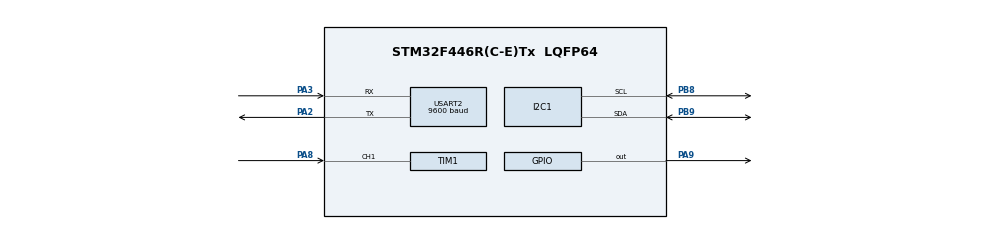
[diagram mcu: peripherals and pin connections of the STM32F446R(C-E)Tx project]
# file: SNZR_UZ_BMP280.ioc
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Mcu.Family=STM32F4
Mcu.Name=STM32F446R(C-E)Tx
Mcu.Package=LQFP64
NVIC.PriorityGroup=NVIC_PRIORITYGROUP_4
NVIC.TIM1_CC_IRQn=true\:3\:0\:true\:false\:true\:true\:true\:true
PA13.Mode=Serial_Wire
PA13.Signal=SYS_JTMS-SWDIO
PA14.Mode=Serial_Wire
PA14.Signal=SYS_JTCK-SWCLK
PA2.Mode=Asynchronous
PA2.Signal=USART2_TX
PA3.Mode=Asynchronous
PA3.Signal=USART2_RX
PA8.Signal=S_TIM1_CH1
PA9.Signal=GPIO_Output
PB8.Mode=I2C
PB8.Signal=I2C1_SCL
PB9.Mode=I2C
PB9.Signal=I2C1_SDA
ProjectManager.HeapSize=0x200
ProjectManager.StackSize=0x400
ProjectManager.TargetToolchain=STM32CubeIDE
RCC.CortexFreq_Value=16000000
RCC.USBFreq_Value=96000000
RCC.VCOOutputFreq_Value=192000000
SH.S_TIM1_CH1.0=TIM1_CH1,Input_Capture1_from_TI1
TIM1.Channel-Input_Capture1_from_TI1=TIM_CHANNEL_1
TIM1.Prescaler=15
USART2.BaudRate=9600
USART2.VirtualMode=VM_ASYNC
board=custom

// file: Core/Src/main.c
/* USER CODE BEGIN Header */
/**
  ******************************************************************************
  * @file           : main.c
  * @brief          : Main program body
  ******************************************************************************
  * @attention
  *
  * Copyright (c) 2023 STMicroelectronics.
  * All rights reserved.
  *
  * This software is licensed under terms that can be found in the LICENSE file
  * in the root directory of this software component.
  * If no LICENSE file comes with this software, it is provided AS-IS.
  *
  ******************************************************************************
  */
/* USER CODE END Header */
#include "main.h"
#include "i2c.h"
#include "tim.h"
#include "usart.h"
#include "gpio.h"

/* USER CODE BEGIN Includes */
#include "BSP/bmp280.h"
#include "stdio.h"
#include "string.h"
/* USER CODE END Includes */

/* USER CODE BEGIN PV */
uint32_t IC_Val1 = 0;
uint32_t IC_Val2 = 0;
uint32_t Difference = 0;
uint8_t Is_First_Captured = 0;

BMP280_HandleTypedef bmp280;

float pressure, temperature, humidity;

uint16_t size;
uint8_t Data[256];

#define TRIG_PIN GPIO_PIN_9
#define TRIG_PORT GPIOA
/* USER CODE END PV */

void SystemClock_Config(void);
/* USER CODE BEGIN PFP */

#ifdef __GNUC__
#define PUTCHAR_PROTOTYPE int __io_putchar(int ch)
#else
#define PUTCHAR_PROTOTYPE int fputc(int ch, FILE *f)
#endif

PUTCHAR_PROTOTYPE
{
  HAL_UART_Transmit(&huart2, (uint8_t *)&ch, 1, HAL_MAX_DELAY);
  return ch;
}

void HCSR04_Read(void){
	HAL_GPIO_WritePin(TRIG_PORT, TRIG_PIN, GPIO_PIN_SET);  // pull the TRIG pin HIGH
	HAL_Delay(1);
	HAL_GPIO_WritePin(TRIG_PORT, TRIG_PIN, GPIO_PIN_RESET);  // pull the TRIG pin low

	__HAL_TIM_ENABLE_IT(&htim1, TIM_IT_CC1);
}
/* USER CODE END PFP */

int main(void)
{

  /* MCU Configuration--------------------------------------------------------*/

  /* Reset of all peripherals, Initializes the Flash interface and the Systick. */
  HAL_Init();

  /* Configure the system clock */
  SystemClock_Config();

  /* Initialize all configured peripherals */
  MX_GPIO_Init();
  MX_TIM1_Init();
  MX_USART2_UART_Init();
  MX_I2C1_Init();
  /* USER CODE BEGIN 2 */

  HAL_TIM_IC_Start_IT(&htim1, TIM_CHANNEL_1);

  /* USER CODE END 2 */

  /* Infinite loop */
  /* USER CODE BEGIN WHILE */

  bmp280_init_default_params(&bmp280.params);
  bmp280.addr = BMP280_I2C_ADDRESS_0;
  bmp280.i2c = &hi2c1;

  bmp280_init(&bmp280, &bmp280.params);

  while (1)
  {
	  bmp280_read_float(&bmp280, &temperature, &pressure, &humidity);
	  HCSR04_Read();
	  //Difference+=58;
	  printf("%lu; %.2f\r\n", Difference, temperature);
	  HAL_Delay(500);
    /* USER CODE END WHILE */

  }
}

void SystemClock_Config(void)
{
  RCC_OscInitTypeDef RCC_OscInitStruct = {0};
  RCC_ClkInitTypeDef RCC_ClkInitStruct = {0};

  /** Configure the main internal regulator output voltage
  */
  __HAL_RCC_PWR_CLK_ENABLE();
  __HAL_PWR_VOLTAGESCALING_CONFIG(PWR_REGULATOR_VOLTAGE_SCALE3);

  /** Initializes the RCC Oscillators according to the specified parameters
  * in the RCC_OscInitTypeDef structure.
  */
  RCC_OscInitStruct.OscillatorType = RCC_OSCILLATORTYPE_HSI;
  RCC_OscInitStruct.HSIState = RCC_HSI_ON;
  RCC_OscInitStruct.HSICalibrationValue = RCC_HSICALIBRATION_DEFAULT;
  RCC_OscInitStruct.PLL.PLLState = RCC_PLL_NONE;
  if (HAL_RCC_OscConfig(&RCC_OscInitStruct) != HAL_OK)
  {
    Error_Handler();
  }

  /** Initializes the CPU, AHB and APB buses clocks
  */
  RCC_ClkInitStruct.ClockType = RCC_CLOCKTYPE_HCLK|RCC_CLOCKTYPE_SYSCLK
                              |RCC_CLOCKTYPE_PCLK1|RCC_CLOCKTYPE_PCLK2;
  RCC_ClkInitStruct.SYSCLKSource = RCC_SYSCLKSOURCE_HSI;
  RCC_ClkInitStruct.AHBCLKDivider = RCC_SYSCLK_DIV1;
  RCC_ClkInitStruct.APB1CLKDivider = RCC_HCLK_DIV1;
  RCC_ClkInitStruct.APB2CLKDivider = RCC_HCLK_DIV1;

  if (HAL_RCC_ClockConfig(&RCC_ClkInitStruct, FLASH_LATENCY_0) != HAL_OK)
  {
    Error_Handler();
  }
}

/* USER CODE BEGIN 4 */
void HAL_TIM_IC_CaptureCallback(TIM_HandleTypeDef *htim){
	if (htim->Channel == HAL_TIM_ACTIVE_CHANNEL_1)  {
		if (Is_First_Captured==0) {
			IC_Val1 = HAL_TIM_ReadCapturedValue(htim, TIM_CHANNEL_1);
			Is_First_Captured = 1;
			__HAL_TIM_SET_CAPTUREPOLARITY(htim, TIM_CHANNEL_1, TIM_INPUTCHANNELPOLARITY_FALLING);
		}

		else if (Is_First_Captured==1){
			IC_Val2 = HAL_TIM_ReadCapturedValue(htim, TIM_CHANNEL_1);  // read second value
			__HAL_TIM_SET_COUNTER(htim, 0);
			if (IC_Val2 > IC_Val1){
				Difference = IC_Val2-IC_Val1;
			}

			else if (IC_Val1 > IC_Val2){
				Difference = (0xffff - IC_Val1) + IC_Val2;
			}

			Is_First_Captured = 0;

			__HAL_TIM_SET_CAPTUREPOLARITY(htim, TIM_CHANNEL_1, TIM_INPUTCHANNELPOLARITY_RISING);
			__HAL_TIM_DISABLE_IT(&htim1, TIM_IT_CC1);
		}
	}
}

/* USER CODE END 4 */

void Error_Handler(void)
{
  __disable_irq();
  while (1)
  {
  }
}
